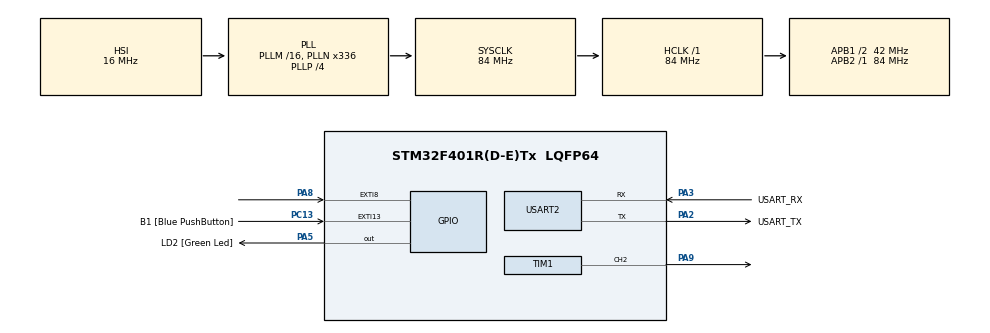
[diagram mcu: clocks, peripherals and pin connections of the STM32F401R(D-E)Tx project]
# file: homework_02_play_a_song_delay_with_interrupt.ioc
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Mcu.Family=STM32F4
Mcu.Name=STM32F401R(D-E)Tx
Mcu.Package=LQFP64
NVIC.EXTI9_5_IRQn=true\:0\:0\:false\:false\:true\:true\:true\:true
NVIC.PriorityGroup=NVIC_PRIORITYGROUP_0
NVIC.TIM1_UP_TIM10_IRQn=true\:0\:0\:false\:false\:true\:true\:true\:true
PA13.GPIO_Label=TMS
PA13.Mode=Serial_Wire
PA13.Signal=SYS_JTMS-SWDIO
PA14.GPIO_Label=TCK
PA14.Mode=Serial_Wire
PA14.Signal=SYS_JTCK-SWCLK
PA2.GPIO_Label=USART_TX
PA2.GPIO_Mode=GPIO_MODE_AF_PP
PA2.GPIO_PuPd=GPIO_NOPULL
PA2.GPIO_Speed=GPIO_SPEED_FREQ_LOW
PA2.Mode=Asynchronous
PA2.Signal=USART2_TX
PA3.GPIO_Label=USART_RX
PA3.GPIO_Mode=GPIO_MODE_AF_PP
PA3.GPIO_PuPd=GPIO_NOPULL
PA3.GPIO_Speed=GPIO_SPEED_FREQ_LOW
PA3.Mode=Asynchronous
PA3.Signal=USART2_RX
PA5.GPIO_Label=LD2 [Green Led]
PA5.GPIO_Mode=GPIO_MODE_OUTPUT_PP
PA5.GPIO_PuPd=GPIO_NOPULL
PA5.GPIO_Speed=GPIO_SPEED_FREQ_LOW
PA5.Signal=GPIO_Output
PA8.Signal=GPXTI8
PA9.Signal=S_TIM1_CH2
PB3.GPIO_Label=SWO
PB3.Signal=SYS_JTDO-SWO
PC13-ANTI_TAMP.GPIO_Label=B1 [Blue PushButton]
PC13-ANTI_TAMP.GPIO_ModeDefaultEXTI=GPIO_MODE_IT_FALLING
PC13-ANTI_TAMP.GPIO_PuPd=GPIO_NOPULL
PC13-ANTI_TAMP.Signal=GPXTI13
PC14-OSC32_IN.Mode=LSE-External-Oscillator
PC14-OSC32_IN.Signal=RCC_OSC32_IN
PC15-OSC32_OUT.Mode=LSE-External-Oscillator
PC15-OSC32_OUT.Signal=RCC_OSC32_OUT
PH0\ -\ OSC_IN.Mode=HSE-External-Clock-Source
PH0\ -\ OSC_IN.Signal=RCC_OSC_IN
PH1\ -\ OSC_OUT.Mode=HSE-External-Clock-Source
PH1\ -\ OSC_OUT.Signal=RCC_OSC_OUT
ProjectManager.HeapSize=0x200
ProjectManager.StackSize=0x400
ProjectManager.TargetToolchain=STM32CubeIDE
RCC.48MHZClocksFreq_Value=48000000
RCC.AHBFreq_Value=84000000
RCC.APB1CLKDivider=RCC_HCLK_DIV2
RCC.APB1Freq_Value=42000000
RCC.APB1TimFreq_Value=84000000
RCC.APB2Freq_Value=84000000
RCC.APB2TimFreq_Value=84000000
RCC.CortexFreq_Value=84000000
RCC.HCLKFreq_Value=84000000
RCC.HSE_VALUE=8000000
RCC.HSI_VALUE=16000000
RCC.PLLN=336
RCC.PLLP=RCC_PLLP_DIV4
RCC.PLLQ=7
RCC.SYSCLKFreq_VALUE=84000000
RCC.SYSCLKSource=RCC_SYSCLKSOURCE_PLLCLK
RCC.VCOOutputFreq_Value=336000000
SH.S_TIM1_CH2.0=TIM1_CH2,PWM Generation2 CH2
TIM1.Channel-PWM\ Generation2\ CH2=TIM_CHANNEL_2
TIM1.Prescaler=100-1
TIM10.Period=8400-1
TIM10.Prescaler=9999
USART2.VirtualMode=VM_ASYNC
VP_TIM10_VS_ClockSourceINT.Mode=Enable_Timer
VP_TIM1_VS_ClockSourceINT.Mode=Internal
board=NUCLEO-F401RE

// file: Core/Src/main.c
/* USER CODE BEGIN Header */
/**
  ******************************************************************************
  * @file           : main.c
  * @brief          : Main program body
  ******************************************************************************
  * @attention
  *
  * Copyright (c) 2023 STMicroelectronics.
  * All rights reserved.
  *
  * This software is licensed under terms that can be found in the LICENSE file
  * in the root directory of this software component.
  * If no LICENSE file comes with this software, it is provided AS-IS.
  *
  ******************************************************************************
  */
/* USER CODE END Header */
#include "main.h"

/* USER CODE BEGIN Includes */
#include "stdlib.h"
/* USER CODE END Includes */

/* USER CODE BEGIN PD */
#define DO4   3206
#define DO4_  3032
#define RE4   2857
#define RE4_  2700
#define MI4   2545
#define FA4   2406
#define FA4_  2270
#define SOL4  2142
#define SOL4_ 2024
#define LA4   1909
#define LA4_  1802
#define SI4   1700

#define DO5   1606
#define DO5_  1516
#define RE5   1431
#define RE5_  1350
#define MI5   1274
#define FA5   1203
#define FA5_  1135
#define SOL5  1072
#define SOL5_ 1012
#define LA5   954
#define LA5_  901
#define SI5   851

#define PAUSE 0	// consider it as a normal note, but the sound will not be played

#define TEMPO 1000	// time of one bar (battuta del pentagramma) in ms

#define SONG_SELECTOR 1

/* USER CODE END PD */

TIM_HandleTypeDef htim1;
TIM_HandleTypeDef htim10;

UART_HandleTypeDef huart2;

/* USER CODE BEGIN PV */
struct note {
	int period;
	int delay;
	struct note* next;
}note;

// first note of the song / head of the linked list representing the song
struct note* head = NULL;

// set when the microphone callback is activated
volatile int initialize_song = 0;

// skip the first callback from the timer
volatile int first_callback = 1;

// signal the end of the count for the timer (we can move to the next note)
volatile int timer_finished = 1;

/* USER CODE END PV */

void SystemClock_Config(void);
static void MX_GPIO_Init(void);
static void MX_USART2_UART_Init(void);
static void MX_TIM1_Init(void);
static void MX_TIM10_Init(void);
/* USER CODE BEGIN PFP */

// microphone and blue button  callback
void HAL_GPIO_EXTI_Callback(uint16_t GPIO_Pin);

// timer callback, at the end of the count this callback is activated
void HAL_TIM_PeriodElapsedCallback(TIM_HandleTypeDef *htim10);

// modify timer period
static void set_Timer(int);

// receives the period of the node to set
static void set_Note(int);

// error routine that signals problems through the LD2 led
void error_routine(void);

// stop every timer going in the system
void stop_timers(void);

// receives the period of the node to play and the delay of play and starts PWM
static void play_Note(int, int);

// create the linked list of notes (that composes a song)
static struct note* create_Song(int[], int[], int);

// ausiliary function to create and play a song
static struct note* create_and_play(int[], int[], int, int);

// the parameter is the TEMPO multiplier
static struct note* play_London_Bridge(int);
static struct note* play_Pokemon_Emerald(int);
static struct note* play_Io_Credo_In_Me(int);

/* USER CODE END PFP */

int main(void)
{

  /* MCU Configuration--------------------------------------------------------*/

  /* Reset of all peripherals, Initializes the Flash interface and the Systick. */
  HAL_Init();

  /* Configure the system clock */
  SystemClock_Config();

  /* Initialize all configured peripherals */
  MX_GPIO_Init();
  MX_USART2_UART_Init();
  MX_TIM1_Init();
  MX_TIM10_Init();
  /* USER CODE BEGIN 2 */

  // set pin and wait 500 ms
  HAL_GPIO_WritePin(GPIOA, GPIO_PIN_5, GPIO_PIN_SET);
  HAL_Delay(500);

  /* USER CODE END 2 */

  /* Infinite loop */
  /* USER CODE BEGIN WHILE */
  while (1)
  {
	  if(initialize_song) {
		  // remove possibility of multiple interrupt from the microphone at the same time
		  HAL_Delay(50);

		  initialize_song = 0;

		  HAL_GPIO_WritePin(GPIOA, GPIO_PIN_5, GPIO_PIN_RESET);

		  switch(SONG_SELECTOR) {
			  case 1:
				  head = play_London_Bridge(1);
				  break;
			  case 2:
				  head = play_Pokemon_Emerald(1);
				  break;
			  case 3:
				  head = play_Io_Credo_In_Me(2);
				  break;
			  default:
				  head = NULL;
				  error_routine();
				  break;
		  }

		  HAL_GPIO_WritePin(GPIOA, GPIO_PIN_5, GPIO_PIN_SET);
	  }

	  if(timer_finished) {
		  if(head != NULL) {
			  play_Note(head->period, head->delay);
			  head = head->next;
			  timer_finished = 0;
		  }
	  }
    /* USER CODE END WHILE */

  }
}

void SystemClock_Config(void)
{
  RCC_OscInitTypeDef RCC_OscInitStruct = {0};
  RCC_ClkInitTypeDef RCC_ClkInitStruct = {0};

  /** Configure the main internal regulator output voltage
  */
  __HAL_RCC_PWR_CLK_ENABLE();
  __HAL_PWR_VOLTAGESCALING_CONFIG(PWR_REGULATOR_VOLTAGE_SCALE2);

  /** Initializes the RCC Oscillators according to the specified parameters
  * in the RCC_OscInitTypeDef structure.
  */
  RCC_OscInitStruct.OscillatorType = RCC_OSCILLATORTYPE_HSI;
  RCC_OscInitStruct.HSIState = RCC_HSI_ON;
  RCC_OscInitStruct.HSICalibrationValue = RCC_HSICALIBRATION_DEFAULT;
  RCC_OscInitStruct.PLL.PLLState = RCC_PLL_ON;
  RCC_OscInitStruct.PLL.PLLSource = RCC_PLLSOURCE_HSI;
  RCC_OscInitStruct.PLL.PLLM = 16;
  RCC_OscInitStruct.PLL.PLLN = 336;
  RCC_OscInitStruct.PLL.PLLP = RCC_PLLP_DIV4;
  RCC_OscInitStruct.PLL.PLLQ = 7;
  if (HAL_RCC_OscConfig(&RCC_OscInitStruct) != HAL_OK)
  {
    Error_Handler();
  }

  /** Initializes the CPU, AHB and APB buses clocks
  */
  RCC_ClkInitStruct.ClockType = RCC_CLOCKTYPE_HCLK|RCC_CLOCKTYPE_SYSCLK
                              |RCC_CLOCKTYPE_PCLK1|RCC_CLOCKTYPE_PCLK2;
  RCC_ClkInitStruct.SYSCLKSource = RCC_SYSCLKSOURCE_PLLCLK;
  RCC_ClkInitStruct.AHBCLKDivider = RCC_SYSCLK_DIV1;
  RCC_ClkInitStruct.APB1CLKDivider = RCC_HCLK_DIV2;
  RCC_ClkInitStruct.APB2CLKDivider = RCC_HCLK_DIV1;

  if (HAL_RCC_ClockConfig(&RCC_ClkInitStruct, FLASH_LATENCY_2) != HAL_OK)
  {
    Error_Handler();
  }
}

static void MX_TIM1_Init(void)
{

  TIM_ClockConfigTypeDef sClockSourceConfig = {0};
  TIM_MasterConfigTypeDef sMasterConfig = {0};
  TIM_OC_InitTypeDef sConfigOC = {0};
  TIM_BreakDeadTimeConfigTypeDef sBreakDeadTimeConfig = {0};

  htim1.Instance = TIM1;
  htim1.Init.Prescaler = 100-1;
  htim1.Init.CounterMode = TIM_COUNTERMODE_UP;
  htim1.Init.Period = 65535;
  htim1.Init.ClockDivision = TIM_CLOCKDIVISION_DIV1;
  htim1.Init.RepetitionCounter = 0;
  htim1.Init.AutoReloadPreload = TIM_AUTORELOAD_PRELOAD_DISABLE;
  if (HAL_TIM_Base_Init(&htim1) != HAL_OK)
  {
    Error_Handler();
  }
  sClockSourceConfig.ClockSource = TIM_CLOCKSOURCE_INTERNAL;
  if (HAL_TIM_ConfigClockSource(&htim1, &sClockSourceConfig) != HAL_OK)
  {
    Error_Handler();
  }
  if (HAL_TIM_PWM_Init(&htim1) != HAL_OK)
  {
    Error_Handler();
  }
  sMasterConfig.MasterOutputTrigger = TIM_TRGO_RESET;
  sMasterConfig.MasterSlaveMode = TIM_MASTERSLAVEMODE_DISABLE;
  if (HAL_TIMEx_MasterConfigSynchronization(&htim1, &sMasterConfig) != HAL_OK)
  {
    Error_Handler();
  }
  sConfigOC.OCMode = TIM_OCMODE_PWM1;
  sConfigOC.Pulse = 0;
  sConfigOC.OCPolarity = TIM_OCPOLARITY_HIGH;
  sConfigOC.OCNPolarity = TIM_OCNPOLARITY_HIGH;
  sConfigOC.OCFastMode = TIM_OCFAST_DISABLE;
  sConfigOC.OCIdleState = TIM_OCIDLESTATE_RESET;
  sConfigOC.OCNIdleState = TIM_OCNIDLESTATE_RESET;
  if (HAL_TIM_PWM_ConfigChannel(&htim1, &sConfigOC, TIM_CHANNEL_2) != HAL_OK)
  {
    Error_Handler();
  }
  sBreakDeadTimeConfig.OffStateRunMode = TIM_OSSR_DISABLE;
  sBreakDeadTimeConfig.OffStateIDLEMode = TIM_OSSI_DISABLE;
  sBreakDeadTimeConfig.LockLevel = TIM_LOCKLEVEL_OFF;
  sBreakDeadTimeConfig.DeadTime = 0;
  sBreakDeadTimeConfig.BreakState = TIM_BREAK_DISABLE;
  sBreakDeadTimeConfig.BreakPolarity = TIM_BREAKPOLARITY_HIGH;
  sBreakDeadTimeConfig.AutomaticOutput = TIM_AUTOMATICOUTPUT_DISABLE;
  if (HAL_TIMEx_ConfigBreakDeadTime(&htim1, &sBreakDeadTimeConfig) != HAL_OK)
  {
    Error_Handler();
  }
  HAL_TIM_MspPostInit(&htim1);

}

static void MX_TIM10_Init(void)
{

  htim10.Instance = TIM10;
  htim10.Init.Prescaler = 9999;
  htim10.Init.CounterMode = TIM_COUNTERMODE_UP;
  htim10.Init.Period = 8400-1;
  htim10.Init.ClockDivision = TIM_CLOCKDIVISION_DIV1;
  htim10.Init.AutoReloadPreload = TIM_AUTORELOAD_PRELOAD_DISABLE;
  if (HAL_TIM_Base_Init(&htim10) != HAL_OK)
  {
    Error_Handler();
  }

}

static void MX_USART2_UART_Init(void)
{

  huart2.Instance = USART2;
  huart2.Init.BaudRate = 115200;
  huart2.Init.WordLength = UART_WORDLENGTH_8B;
  huart2.Init.StopBits = UART_STOPBITS_1;
  huart2.Init.Parity = UART_PARITY_NONE;
  huart2.Init.Mode = UART_MODE_TX_RX;
  huart2.Init.HwFlowCtl = UART_HWCONTROL_NONE;
  huart2.Init.OverSampling = UART_OVERSAMPLING_16;
  if (HAL_UART_Init(&huart2) != HAL_OK)
  {
    Error_Handler();
  }

}

static void MX_GPIO_Init(void)
{
  GPIO_InitTypeDef GPIO_InitStruct = {0};

  /* GPIO Ports Clock Enable */
  __HAL_RCC_GPIOC_CLK_ENABLE();
  __HAL_RCC_GPIOH_CLK_ENABLE();
  __HAL_RCC_GPIOA_CLK_ENABLE();
  __HAL_RCC_GPIOB_CLK_ENABLE();

  /*Configure GPIO pin Output Level */
  HAL_GPIO_WritePin(LD2_GPIO_Port, LD2_Pin, GPIO_PIN_RESET);

  /*Configure GPIO pin : B1_Pin */
  GPIO_InitStruct.Pin = B1_Pin;
  GPIO_InitStruct.Mode = GPIO_MODE_IT_FALLING;
  GPIO_InitStruct.Pull = GPIO_NOPULL;
  HAL_GPIO_Init(B1_GPIO_Port, &GPIO_InitStruct);

  /*Configure GPIO pin : LD2_Pin */
  GPIO_InitStruct.Pin = LD2_Pin;
  GPIO_InitStruct.Mode = GPIO_MODE_OUTPUT_PP;
  GPIO_InitStruct.Pull = GPIO_NOPULL;
  GPIO_InitStruct.Speed = GPIO_SPEED_FREQ_LOW;
  HAL_GPIO_Init(LD2_GPIO_Port, &GPIO_InitStruct);

  /*Configure GPIO pin : PA8 */
  GPIO_InitStruct.Pin = GPIO_PIN_8;
  GPIO_InitStruct.Mode = GPIO_MODE_IT_RISING;
  GPIO_InitStruct.Pull = GPIO_NOPULL;
  HAL_GPIO_Init(GPIOA, &GPIO_InitStruct);

  /* EXTI interrupt init*/
  HAL_NVIC_SetPriority(EXTI9_5_IRQn, 0, 0);
  HAL_NVIC_EnableIRQ(EXTI9_5_IRQn);

}

/* USER CODE BEGIN 4 */

void HAL_GPIO_EXTI_Callback(uint16_t GPIO_Pin) {
	// mirophone callback
	if(GPIO_Pin == GPIO_PIN_8) {
		// allow to initialize the song (creation and set head of linked list)
		initialize_song = 1;
	}
}

void HAL_TIM_PeriodElapsedCallback(TIM_HandleTypeDef *htim) {
	if(htim == &htim10) {
		// first_callback is 1 when we are expecting the callback caused by the start of the timer
		if(first_callback) {
			first_callback = 0;
		} else {
			timer_finished = 1;
			stop_timers();
		}
	}
}

static void set_Timer(int delay) {
  if(delay != 0) {
	htim10.Instance = TIM10;
	htim10.Init.Prescaler = 8400;
	htim10.Init.CounterMode = TIM_COUNTERMODE_UP;
	htim10.Init.Period = (int) 10 * delay;
	htim10.Init.ClockDivision = TIM_CLOCKDIVISION_DIV1;
	htim10.Init.AutoReloadPreload = TIM_AUTORELOAD_PRELOAD_DISABLE;
	if (HAL_TIM_Base_Init(&htim10) != HAL_OK)
	{
	Error_Handler();
	}
  }
}

static void set_Note(int period) {

  TIM_ClockConfigTypeDef sClockSourceConfig = {0};
  TIM_MasterConfigTypeDef sMasterConfig = {0};
  TIM_OC_InitTypeDef sConfigOC = {0};
  TIM_BreakDeadTimeConfigTypeDef sBreakDeadTimeConfig = {0};

  htim1.Instance = TIM1;
  htim1.Init.Prescaler = 100-1;
  htim1.Init.CounterMode = TIM_COUNTERMODE_UP;
  htim1.Init.Period = period - 1;
  htim1.Init.ClockDivision = TIM_CLOCKDIVISION_DIV1;
  htim1.Init.RepetitionCounter = 0;
  htim1.Init.AutoReloadPreload = TIM_AUTORELOAD_PRELOAD_DISABLE;

  if (HAL_TIM_Base_Init(&htim1) != HAL_OK){
    Error_Handler();
  }

  sClockSourceConfig.ClockSource = TIM_CLOCKSOURCE_INTERNAL;
  if (HAL_TIM_ConfigClockSource(&htim1, &sClockSourceConfig) != HAL_OK){
    Error_Handler();
  }

  if (HAL_TIM_PWM_Init(&htim1) != HAL_OK){
    Error_Handler();
  }

  sMasterConfig.MasterOutputTrigger = TIM_TRGO_RESET;
  sMasterConfig.MasterSlaveMode = TIM_MASTERSLAVEMODE_DISABLE;

  if (HAL_TIMEx_MasterConfigSynchronization(&htim1, &sMasterConfig) != HAL_OK){
    Error_Handler();
  }

  sConfigOC.OCMode = TIM_OCMODE_PWM1;
  sConfigOC.Pulse = ((int) period / 2) - 1;
  sConfigOC.OCPolarity = TIM_OCPOLARITY_HIGH;
  sConfigOC.OCNPolarity = TIM_OCNPOLARITY_HIGH;
  sConfigOC.OCFastMode = TIM_OCFAST_DISABLE;
  sConfigOC.OCIdleState = TIM_OCIDLESTATE_RESET;
  sConfigOC.OCNIdleState = TIM_OCNIDLESTATE_RESET;

  if (HAL_TIM_PWM_ConfigChannel(&htim1, &sConfigOC, TIM_CHANNEL_2) != HAL_OK){
    Error_Handler();
  }

  sBreakDeadTimeConfig.OffStateRunMode = TIM_OSSR_DISABLE;
  sBreakDeadTimeConfig.OffStateIDLEMode = TIM_OSSI_DISABLE;
  sBreakDeadTimeConfig.LockLevel = TIM_LOCKLEVEL_OFF;
  sBreakDeadTimeConfig.DeadTime = 0;
  sBreakDeadTimeConfig.BreakState = TIM_BREAK_DISABLE;
  sBreakDeadTimeConfig.BreakPolarity = TIM_BREAKPOLARITY_HIGH;
  sBreakDeadTimeConfig.AutomaticOutput = TIM_AUTOMATICOUTPUT_DISABLE;

  if (HAL_TIMEx_ConfigBreakDeadTime(&htim1, &sBreakDeadTimeConfig) != HAL_OK){
    Error_Handler();
  }

  HAL_TIM_MspPostInit(&htim1);
}

void error_routine() {
	HAL_GPIO_WritePin(GPIOA, GPIO_PIN_5, GPIO_PIN_SET);
	HAL_Delay(500);
	HAL_GPIO_WritePin(GPIOA, GPIO_PIN_5, GPIO_PIN_RESET);
	HAL_Delay(500);
	HAL_GPIO_WritePin(GPIOA, GPIO_PIN_5, GPIO_PIN_SET);
	HAL_Delay(500);
	HAL_GPIO_WritePin(GPIOA, GPIO_PIN_5, GPIO_PIN_RESET);
	HAL_Delay(500);
	HAL_GPIO_WritePin(GPIOA, GPIO_PIN_5, GPIO_PIN_SET);
}

void stop_timers() {
	HAL_TIM_PWM_Stop(&htim1, TIM_CHANNEL_2);
	HAL_TIM_Base_Stop_IT(&htim10);
	first_callback = 1;
}

static void play_Note(int period, int delay) {
	// set PWM note generator (considering also the case of a pause)
	if(period != PAUSE) {
		set_Note(period);
		HAL_TIM_PWM_Start(&htim1, TIM_CHANNEL_2);
	}

	// counter for note (or pause) length
	set_Timer(delay);
	HAL_TIM_Base_Start_IT(&htim10);
}

// linked list for the song
static struct note* create_Song(int notes[], int delays[], int size) {
	struct note *head = NULL;
	struct note *tail = NULL;
	int i = 0;

	for(i = 0; i < size; i++) {
		if(i == 0){
			head = malloc(sizeof(note));
			head->period = notes[i];
			head->delay = delays[i];
			head->next = NULL;

			tail = head;
		} else {
			tail->next = malloc(sizeof(note));
			tail = tail->next;
			tail->period = notes[i];
			tail->delay = delays[i];
			tail->next = NULL;
		}
	}

	// return start of the song
	return head;
}

static struct note* create_and_play(int notes[], int delays[], int size_notes, int size_delays) {
	// check dimension of arrays and create structure of song
	if(size_notes != size_delays) {
		error_routine();
	} else {
		return create_Song(notes, delays, size_notes);
	}
	return NULL;
}

static struct note* play_London_Bridge(int multi) {
	// write notes
	int notes[] = {SOL4, LA4, SOL4, FA4, MI4, FA4, SOL4, RE4, MI4, FA4, MI4, FA4, SOL4, SOL4, LA4, SOL4,
					FA4, MI4, FA4, SOL4, RE4, SOL4, MI4, DO4};

	// write tempos
	int delays[] = {(int) TEMPO * multi *  3/8,
					(int) TEMPO * multi * 1/8,
					(int) TEMPO * multi * 2/8,
					(int) TEMPO * multi * 2/8,
					(int) TEMPO * multi * 2/8,
					(int) TEMPO * multi * 2/8,
					(int) TEMPO * multi * 4/8,
					(int) TEMPO * multi * 2/8,
					(int) TEMPO * multi * 2/8,
					(int) TEMPO * multi * 4/8,
					(int) TEMPO * multi * 2/8,
					(int) TEMPO * multi * 2/8,
					(int) TEMPO * multi * 4/8,
					(int) TEMPO * multi * 3/8,
					(int) TEMPO * multi * 1/8,
					(int) TEMPO * multi * 2/8,
					(int) TEMPO * multi * 2/8,
					(int) TEMPO * multi * 2/8,
					(int) TEMPO * multi * 2/8,
					(int) TEMPO * multi * 4/8,
					(int) TEMPO * multi * 4/8,
					(int) TEMPO * multi * 4/8,
					(int) TEMPO * multi * 2/8,
					(int) TEMPO * multi * 6/8
	};

	return create_and_play(notes, delays, (sizeof(notes)/sizeof(int)), (sizeof(delays)/sizeof(int)));
}

static struct note* play_Pokemon_Emerald(int multi) {
	// write notes
	int notes[] = {(int)PAUSE,

					(int)FA4*2,
					(int)DO4,
					(int)FA4,
					(int)DO4,

					(int)FA4*2,
					(int)DO4,
					(int)FA4,
					(int)DO4,

					(int)LA4*2,
					(int)MI4,
					(int)LA4,
					(int)MI4,

					(int)DO4_,
					(int)LA4,
					(int)DO4_/2,
					(int)LA4,

					(int)RE4,
					(int)LA4,
					(int)RE4/2,
					(int)LA4,

					(int)DO4_,
					(int)LA4,
					(int)DO4_/2,
					(int)LA4,

					(int)DO4,
					(int)LA4_,
					(int)DO4,
					(int)LA4,

					(int)SI4,

					(int)LA4_*2,
					(int)FA4,
					(int)LA4_,
					(int)FA4,

					(int)LA4_,
					(int)FA4,
					(int)LA4,
					(int)FA4,

					(int)SOL4*2,
					(int)RE4,
					(int)SOL4,
					(int)RE4,

					(int)SOL4*2,
					(int)RE4,
					(int)SOL4,
					(int)RE4,

					(int)DO4,
					(int)SOL4,
					(int)DO4/2,
					(int)SOL4,

					(int)MI4/2,
					(int)SOL4,
					(int)DO4/2,
					(int)SOL4,

					(int)DO4,
					(int)SOL4,
					(int)LA4_*2,
					(int)SOL4,

					(int)DO4,
					(int)DO4*2
	};

	// write tempos
	int delays[] = {(int) TEMPO * multi * 6/8,

			(int) TEMPO * multi * 2/8,
			(int) TEMPO * multi * 2/8,
			(int) TEMPO * multi * 2/8,
			(int) TEMPO * multi * 2/8,

			(int) TEMPO * multi * 2/8,
			(int) TEMPO * multi * 2/8,
			(int) TEMPO * multi * 2/8,
			(int) TEMPO * multi * 2/8,

			(int) TEMPO * multi * 2/8,
			(int) TEMPO * multi * 2/8,
			(int) TEMPO * multi * 2/8,
			(int) TEMPO * multi * 2/8,

			(int) TEMPO * multi * 2/8,
			(int) TEMPO * multi * 2/8,
			(int) TEMPO * multi * 2/8,
			(int) TEMPO * multi * 2/8,

			(int) TEMPO * multi * 2/8,
			(int) TEMPO * multi * 2/8,
			(int) TEMPO * multi * 2/8,
			(int) TEMPO * multi * 2/8,

			(int) TEMPO * multi * 2/8,
			(int) TEMPO * multi * 2/8,
			(int) TEMPO * multi * 2/8,
			(int) TEMPO * multi * 2/8,

			(int) TEMPO * multi * 2/8,
			(int) TEMPO * multi * 2/8,
			(int) TEMPO * multi * 2/8,
			(int) TEMPO * multi * 2/8,

			(int) TEMPO * multi * 8/8,

			(int) TEMPO * multi * 2/8,
			(int) TEMPO * multi * 2/8,
			(int) TEMPO * multi * 2/8,
			(int) TEMPO * multi * 2/8,

			(int) TEMPO * multi * 2/8,
			(int) TEMPO * multi * 2/8,
			(int) TEMPO * multi * 2/8,
			(int) TEMPO * multi * 2/8,

			(int) TEMPO * multi * 2/8,
			(int) TEMPO * multi * 2/8,
			(int) TEMPO * multi * 2/8,
			(int) TEMPO * multi * 2/8,

			(int) TEMPO * multi * 2/8,
			(int) TEMPO * multi * 2/8,
			(int) TEMPO * multi * 2/8,
			(int) TEMPO * multi * 2/8,

			(int) TEMPO * multi * 2/8,
			(int) TEMPO * multi * 2/8,
			(int) TEMPO * multi * 2/8,
			(int) TEMPO * multi * 2/8,

			(int) TEMPO * multi * 2/8,
			(int) TEMPO * multi * 2/8,
			(int) TEMPO * multi * 2/8,
			(int) TEMPO * multi * 2/8,

			(int) TEMPO * multi * 2/8,
			(int) TEMPO * multi * 2/8,
			(int) TEMPO * multi * 2/8,
			(int) TEMPO * multi * 2/8,

			(int) TEMPO * multi * 2/8,
			(int) TEMPO * multi * 6/8,
	};

	return create_and_play(notes, delays, (sizeof(notes)/sizeof(int)), (sizeof(delays)/sizeof(int)));
}

static struct note* play_Io_Credo_In_Me(int multi) {
	// write notes
	int notes[] = { PAUSE,
					MI4,
					RE4,
					MI4,
					DO4,	//LUNGO
					MI4,
					RE4,
					MI4,
					RE4,	//LUNGO
					PAUSE,	//LUNGO
					MI4,
					RE4,
					MI4,
					DO4,	//LUNGO
					MI4,
					RE4,
					MI4,
					RE4,	//LUNGO
					MI4,
					MI4,
					RE4,
					DO4, 	//LUNGO
					MI4,
					MI4,
					RE4,
					DO4, 	//LUNGO
					MI4,
					RE4,
					MI4,
					DO4, 	//LUNGO
					MI4,
					RE4,
					MI4,
					RE4, 	//LUNGO
					MI4,
					MI4,
					RE4,
					DO4,	//LUNGO
					MI4,
					MI4,
					RE4,
					DO4,	//LUNGO
					SOL4,
					FA4,
					MI4,
					RE4,	//LUNGO
					SOL4,
					FA4,
					MI4,
					DO4,	//LUNGO
					DO4,
					DO4,
					FA4,
					MI4,
					FA4,
					MI4,
					MI4,	//LUNGO
					SOL4,
					FA4,
					MI4,
					RE4,	//LUNGO
					SOL4,
					SOL4,
					LA4,
					DO4,
					DO4,
					DO4,
					LA4,
					LA4,
					LA4,
					SOL4,
					SOL4, 	//LUNGO
					DO5,
					SI4,
					DO5,
					SOL4,	//LUNGO
					DO5,
					SI4,
					DO5,
					FA4,	//LUNGO
					FA4,
					FA4,
					LA4,
					LA4,
					LA4,
					SOL4,
					SOL4,	//LUNGO
					DO5,
					SI4,
					DO5,
					SOL4,	//LUNGO
					DO5,
					SI4,
					DO5,
					FA4,	//LUNGO
					LA4,
					LA4,
					DO5,
					LA4,
					DO5,
					RE5,
					RE5,	//LUNGO
					RE5,
					DO5,
					LA4_,
					DO5,
					FA4,
					DO5,
					LA4_,
					LA4,
					SOL4	//LUNGO
			};

	// write tempos
	int delays[] = {(int) TEMPO * multi * 2/8,
					(int) TEMPO * multi * 1/8,
					(int) TEMPO * multi * 2/8,
					(int) TEMPO * multi * 2/8,
					(int) TEMPO * multi * 3/8,	//LUNGO (1+2)
					(int) TEMPO * multi * 1/8,
					(int) TEMPO * multi * 2/8,
					(int) TEMPO * multi * 2/8,
					(int) TEMPO * multi * 3/8,	//LUNGO (1+2)
					(int) TEMPO * multi * 8/8,	//LUNGO (pause), should be 12 but it is too long ;(
					(int) TEMPO * multi * 1/8,
					(int) TEMPO * multi * 2/8,
					(int) TEMPO * multi * 2/8,
					(int) TEMPO * multi * 3/8,	//LUNGO (1+2)
					(int) TEMPO * multi * 1/8,
					(int) TEMPO * multi * 2/8,
					(int) TEMPO * multi * 2/8,
					(int) TEMPO * multi * 3/8,	//LUNGO (1+2)
					(int) TEMPO * multi * 1/8,
					(int) TEMPO * multi * 3/8,
					(int) TEMPO * multi * 1/8,
					(int) TEMPO * multi * 3/8,	//LUNGO (1+2)
					(int) TEMPO * multi * 1/8,
					(int) TEMPO * multi * 3/8,
					(int) TEMPO * multi * 1/8,
					(int) TEMPO * multi * 3/8, 	//LUNGO (1+2)
					(int) TEMPO * multi * 1/8,
					(int) TEMPO * multi * 2/8,
					(int) TEMPO * multi * 2/8,
					(int) TEMPO * multi * 3/8,	//LUNGO (1+2)
					(int) TEMPO * multi * 1/8,
					(int) TEMPO * multi * 2/8,
					(int) TEMPO * multi * 2/8,
					(int) TEMPO * multi * 3/8,	//LUNGO (1+2)
					(int) TEMPO * multi * 1/8,
					(int) TEMPO * multi * 2/8,
					(int) TEMPO * multi * 1/8,
					(int) TEMPO * multi * 3/8,	//LUNGO (1+2)
					(int) TEMPO * multi * 1/8,
					(int) TEMPO * multi * 2/8,
					(int) TEMPO * multi * 1/8,
					(int) TEMPO * multi * 3/8,	//LUNGO (1+2)
					(int) TEMPO * multi * 1/8,
					(int) TEMPO * multi * 2/8,
					(int) TEMPO * multi * 2/8,
					(int) TEMPO * multi * 3/8,	//LUNGO (1+2)
					(int) TEMPO * multi * 1/8,
					(int) TEMPO * multi * 2/8,
					(int) TEMPO * multi * 2/8,
					(int) TEMPO * multi * 7/8,	//LUNGO (1+6)
					(int) TEMPO * multi * 1/8,
					(int) TEMPO * multi * 1/8,
					(int) TEMPO * multi * 2/8,
					(int) TEMPO * multi * 1/8,
					(int) TEMPO * multi * 2/8,
					(int) TEMPO * multi * 2/8,
					(int) TEMPO * multi * 3/8,	//LUNGO (1+2)
					(int) TEMPO * multi * 1/8,
					(int) TEMPO * multi * 2/8,
					(int) TEMPO * multi * 2/8,
					(int) TEMPO * multi * 3/8,	//LUNGO (1+2)
					(int) TEMPO * multi * 1/8,
					(int) TEMPO * multi * 2/8,
					(int) TEMPO * multi * 3/8,
					(int) TEMPO * multi * 6/8,
					(int) TEMPO * multi * 1/8,
					(int) TEMPO * multi * 1/8,
					(int) TEMPO * multi * 2/8,
					(int) TEMPO * multi * 1/8,
					(int) TEMPO * multi * 2/8,
					(int) TEMPO * multi * 2/8,
					(int) TEMPO * multi * 3/8,	//LUNGO (1+2)
					(int) TEMPO * multi * 1/8,
					(int) TEMPO * multi * 2/8,
					(int) TEMPO * multi * 2/8,
					(int) TEMPO * multi * 3/8,	//LUNGO (1+2)
					(int) TEMPO * multi * 1/8,
					(int) TEMPO * multi * 2/8,
					(int) TEMPO * multi * 2/8,
					(int) TEMPO * multi * 7/8,	//LUNGO (1+6)
					(int) TEMPO * multi * 1/8,
					(int) TEMPO * multi * 1/8,
					(int) TEMPO * multi * 2/8,
					(int) TEMPO * multi * 1/8,
					(int) TEMPO * multi * 2/8,
					(int) TEMPO * multi * 2/8,
					(int) TEMPO * multi * 3/8,	//LUNGO (1+2)
					(int) TEMPO * multi * 1/8,
					(int) TEMPO * multi * 2/8,
					(int) TEMPO * multi * 2/8,
					(int) TEMPO * multi * 3/8,	//LUNGO (1+2)
					(int) TEMPO * multi * 1/8,
					(int) TEMPO * multi * 2/8,
					(int) TEMPO * multi * 2/8,
					(int) TEMPO * multi * 7/8,	//LUNGO (1+6)
					(int) TEMPO * multi * 1/8,
					(int) TEMPO * multi * 1/8,
					(int) TEMPO * multi * 2/8,
					(int) TEMPO * multi * 1/8,
					(int) TEMPO * multi * 2/8,
					(int) TEMPO * multi * 2/8,
					(int) TEMPO * multi * 3/8,	//LUNGO(1+2)
					(int) TEMPO * multi * 1/8,
					(int) TEMPO * multi * 2/8,
					(int) TEMPO * multi * 2/8,
					(int) TEMPO * multi * 1/8,
					(int) TEMPO * multi * 2/8,
					(int) TEMPO * multi * 1/8,
					(int) TEMPO * multi * 2/8,
					(int) TEMPO * multi * 2/8,
					(int) TEMPO * multi * 3/8	//LUNGO (1+2)
			};

	return create_and_play(notes, delays, (sizeof(notes)/sizeof(int)), (sizeof(delays)/sizeof(int)));
}

/* USER CODE END 4 */

void Error_Handler(void)
{
  __disable_irq();
  while (1)
  {
  }
}
